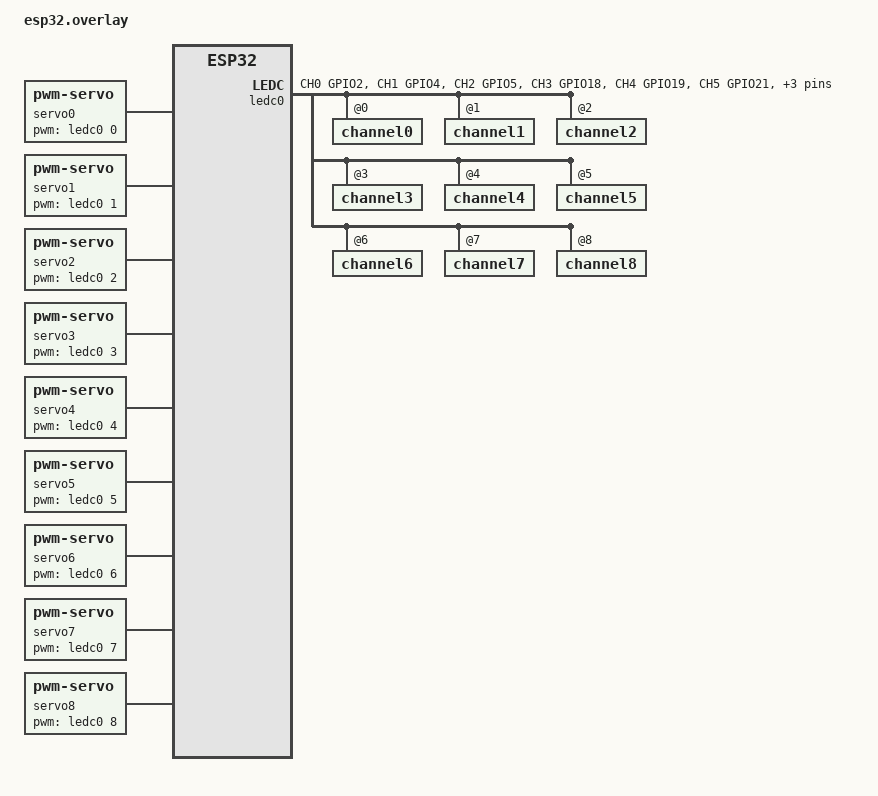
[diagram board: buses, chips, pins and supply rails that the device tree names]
/*
 * SPDX-License-Identifier: Apache-2.0
 *
 * Copyright (c) 2021 Andrei-Edward Popa
 */

/ {

	aliases {
	/* 	pwm-0 = &ledc0; */
	/* 	pwm-led0 = &pwm_led_blue; */
    /* servo = &servo0_label; */
	};
	
	
	/* 
	
	A continuación se determina el tiempo en el cual
    el servo_motor se ubica en una posición entre 0 a 180 grados
    los cuales corresponden a 0.7 mS (min) hasta 2.5 mS (max) de los
    20 mS que corresponden al perido 
    
    pwms = <&ledc0 0 PWM_MSEC(20) PWM_POLARITY_NORMAL>;
		min-pulse = <PWM_USEC(0)>;
		max-pulse = <PWM_USEC(0)>;
    
    */
    
    
    /////// Codo Izquierdo ///////
    
    // "pwm-servo"; Quiere decir que será compatible con el ../dts/bindings/pw-servo.yaml

	servo0: servo0 {
		compatible = "pwm-servo"; 
		
		pwms = <&ledc0 0 PWM_MSEC(20) PWM_POLARITY_NORMAL>;
		min-pulse = <PWM_USEC(1600)>;
		max-pulse = <PWM_USEC(1650)>;
	};



    /////// Hombro izquierdo ///////
    
    
	servo1: servo1 {
		compatible = "pwm-servo";
		
		pwms = <&ledc0 1 PWM_MSEC(20) PWM_POLARITY_NORMAL>;
		min-pulse = <PWM_USEC(1800)>;
		max-pulse = <PWM_USEC(2300)>;
	};
	
	
	
	
	servo2: servo2 {
		compatible = "pwm-servo";
		
		pwms = <&ledc0 2 PWM_MSEC(20) PWM_POLARITY_NORMAL>;
		min-pulse = <PWM_USEC(0)>;
		max-pulse = <PWM_USEC(0)>;
	};

	servo3: servo3 {
		compatible = "pwm-servo";
		
		pwms = <&ledc0 3 PWM_MSEC(20) PWM_POLARITY_NORMAL>;
		min-pulse = <PWM_USEC(0)>;
		max-pulse = <PWM_USEC(0)>;
	};
	

	servo4: servo4 {
		compatible = "pwm-servo";
		
		pwms = <&ledc0 4 PWM_MSEC(20) PWM_POLARITY_NORMAL>;
		min-pulse = <PWM_USEC(0)>;
		max-pulse = <PWM_USEC(0)>;
	};
	
	servo5: servo5 {
		compatible = "pwm-servo";
		
		pwms = <&ledc0 5 PWM_MSEC(20) PWM_POLARITY_NORMAL>;
		min-pulse = <PWM_USEC(0)>;
		max-pulse = <PWM_USEC(0)>;
	};
	
	
	
	/////// Codo Izquierdo ///////
	
	servo6: servo6 {
		compatible = "pwm-servo";
		
		pwms = <&ledc0 6 PWM_MSEC(20) PWM_POLARITY_NORMAL>;
		min-pulse = <PWM_USEC(900)>;
		max-pulse = <PWM_USEC(1300)>;
	};
	
	
	servo7: servo7{
		compatible = "pwm-servo";
		
		pwms = <&ledc0 7 PWM_MSEC(20) PWM_POLARITY_NORMAL>;
		min-pulse = <PWM_USEC(1600)>;
		max-pulse = <PWM_USEC(1650)>;
	};
	
	
	
	
	
	
	servo8: servo8 {
		compatible = "pwm-servo";
		
		pwms = <&ledc0 8 PWM_MSEC(20) PWM_POLARITY_NORMAL>;
		min-pulse = <PWM_USEC(0)>;
		max-pulse = <PWM_USEC(0)>;
	};

  /* ENLISTAR AQUÍ LOS DEMÁS NODOS QUE SE REQUIERAN PARA LOS DEMÁS CANALES DE SERVOMOTORES */
  /* ... */

};

&pinctrl {
	ledc0_default: ledc0_default {
		group1 {
      /* Este es un ejemplo de configuración, pero podrá obtener más opciones
      de configuración de canales/gpios según la necesidad y según es observado
      en el siguiente enlace:
      https://github.com/zephyrproject-rtos/hal_espressif/blob/zephyr/include/dt-bindings/pinctrl/esp32-pinctrl.h
      */
			pinmux =
      <LEDC_CH0_GPIO2>,
      <LEDC_CH1_GPIO4>,
      <LEDC_CH2_GPIO5>,
      <LEDC_CH3_GPIO18>,
      <LEDC_CH4_GPIO19>,
      <LEDC_CH5_GPIO21>,
      <LEDC_CH6_GPIO22>,
      <LEDC_CH7_GPIO23>,
      <LEDC_CH8_GPIO15>
      /*... CH9, CH10, CH11, CH12, CH13, CH14, CH15. CONFIGURE MÁS CANALES (separados por comas) SIN SON REQUERIDOS CON LOS GPIOS */
      ;
			output-enable;
		};
	};
};

&ledc0 {
	pinctrl-0 = <&ledc0_default>;
	pinctrl-names = "default";
	status = "okay";
	#address-cells = <1>;
	#size-cells = <0>;
	channel0@0 {
		reg = <0x0>;
		timer = <0>;
	};
	channel1@1 {
		reg = <0x1>;
		timer = <0>;
	};
	channel2@2 {
		reg = <0x2>;
		timer = <0>;
	};
	channel3@3 {
		reg = <0x3>;
		timer = <0>;
	};
	channel4@4 {
		reg = <0x4>;
		timer = <0>;
	};
	channel5@5 {
		reg = <0x5>;
		timer = <0>;
	};
	channel6@6 {
		reg = <0x6>;
		timer = <0>;
	};
	channel7@7 {
		reg = <0x7>;
		timer = <0>;
	};
	channel8@8 {
		reg = <0x8>;
		timer = <0>;
	};
  /* Por cada canal/gpio configurado requerirá señalar
  qué taimer y qué registro usar como se ve arriba.
  Si requiere configurar más canales tenga presente
  las configuraciones anteriores como guía. */
};
